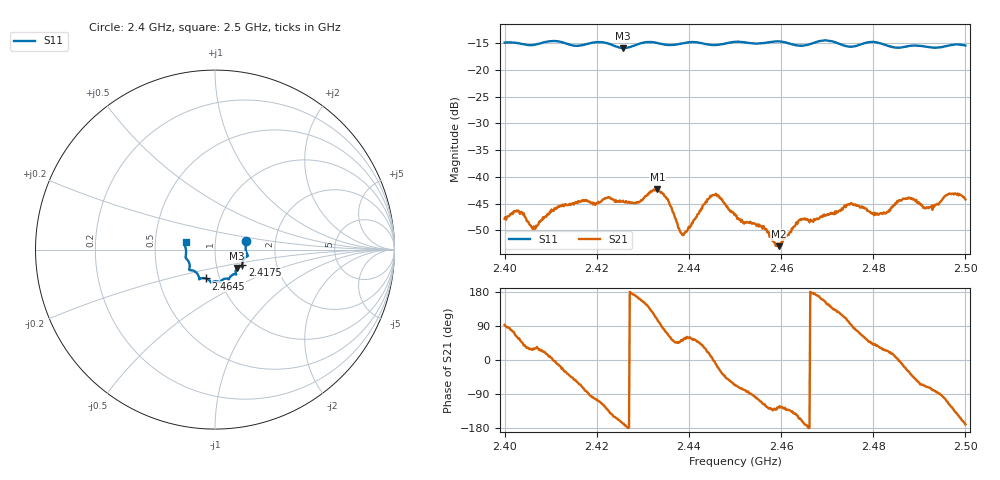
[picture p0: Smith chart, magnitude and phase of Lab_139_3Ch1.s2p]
# Hz S RI R 50
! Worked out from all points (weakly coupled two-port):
!   601 points, 2.4 GHz to 2.5 GHz, reference 50 ohm
!   highest |S21| = -42.25 dB at 2.4332 GHz (marker M1); lowest = -53.0 dB at 2.4595 GHz (marker M2)
!   lowest |S11| = -15.9 dB at 2.4257 GHz (marker M3), VSWR 1.38, Z = 62.5 - j13.1 ohm
!   |S11| at or under -10 dB: start of sweep to end of sweep
!   S12 and S22 are empty: the file has one direction only
!   S11 on the Smith chart (normalised r, x): 2.4 GHz: 1.41, +0.14; 2.4175 GHz: 1.33, -0.23; 2.4645 GHz: 0.86, -0.28; 2.5 GHz: 0.72, +0.06
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2.4e9  0.173 0.0488  -0.000183 0.00406  0 0  0 0
2.403167e9  0.174 0.0328  0.00256 0.00398  0 0  0 0
2.4065e9  0.1717 -0.00421  0.00291 0.00171  0 0  0 0
2.411333e9  0.1822 -0.0357  0.00503 -0.000879  0 0  0 0
2.416667e9  0.1527 -0.0742  0.00214 -0.00558  0 0  0 0
2.4175e9  0.1517 -0.0835  0.000939 -0.006  0 0  0 0
2.425667e9  0.1231 -0.1023  -0.00585 -0.00132  0 0  0 0
2.433167e9  0.114 -0.1371  -0.00206 0.00744  0 0  0 0
2.433333e9  0.113 -0.1369  -0.00155 0.00729  0 0  0 0
2.438667e9  0.0809 -0.1579  0.00181 0.00222  0 0  0 0
2.4455e9  0.0516 -0.1629  0.00675 -0.000357  0 0  0 0
2.45e9  0.0289 -0.181  0.00188 -0.00407  0 0  0 0
2.456333e9  -0.00882 -0.1787  -0.00152 -0.00298  0 0  0 0
2.4595e9  -0.023 -0.1833  -0.00131 -0.00183  0 0  0 0
2.4645e9  -0.0515 -0.1605  -0.00383 -0.00136  0 0  0 0
2.466667e9  -0.0757 -0.1596  -0.00388 0.000176  0 0  0 0
2.475e9  -0.106 -0.1263  -0.000517 0.00551  0 0  0 0
2.483333e9  -0.1408 -0.0903  0.00439 0.00175  0 0  0 0
2.487167e9  -0.1562 -0.055  0.00576 -0.00254  0 0  0 0
2.4915e9  -0.1621 -0.0299  0.00174 -0.00486  0 0  0 0
2.496333e9  -0.1676 0.0223  -0.00297 -0.00628  0 0  0 0
2.5e9  -0.164 0.0426  -0.00607 -0.00106  0 0  0 0
